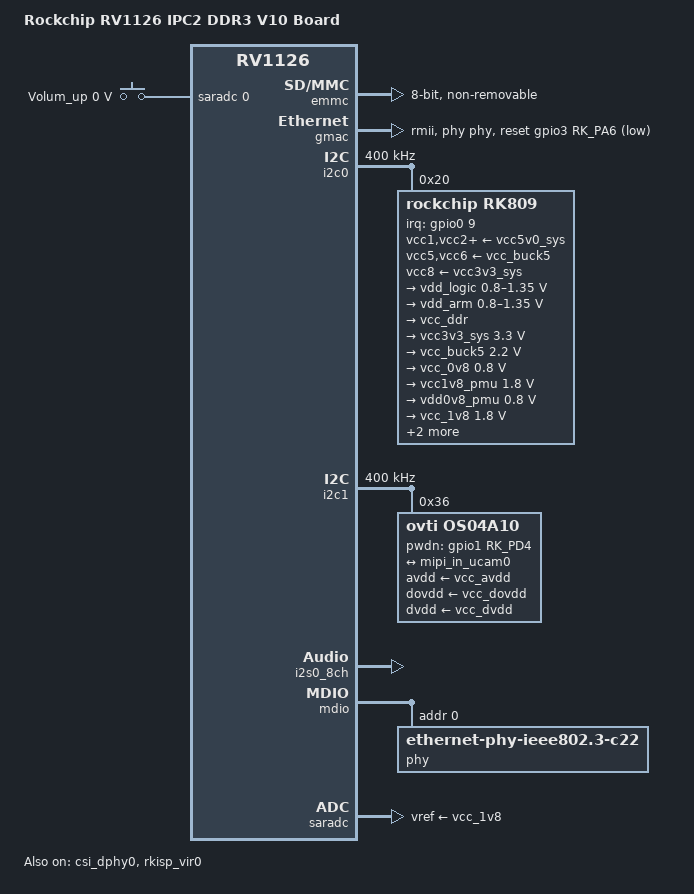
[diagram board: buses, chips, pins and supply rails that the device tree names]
// SPDX-License-Identifier: (GPL-2.0+ OR MIT)
/*
 * Copyright (c) 2020 Fuzhou Rockchip Electronics Co., Ltd.
 */

/dts-v1/;
#include "rv1126.dtsi"
#include "rv1126-ipc.dtsi"
#include <dt-bindings/input/input.h>

/ {
	model = "Rockchip RV1126 IPC2 DDR3 V10 Board";
	compatible = "rockchip,rv1126-ipc2-ddr3-v10", "rockchip,rv1126";

	adc-keys {
		compatible = "adc-keys";
		io-channels = <&saradc 0>;
		io-channel-names = "buttons";
		poll-interval = <100>;
		keyup-threshold-microvolt = <1800000>;

		recovery {
			label = "Volum_up";
			linux,code = <KEY_VOLUMEUP>;
			press-threshold-microvolt = <0>;
		};
	};

	rk809_sound: rk809-sound {
		compatible = "simple-audio-card";
		simple-audio-card,format = "i2s";
		simple-audio-card,name = "rockchip,rk809-codec";
		simple-audio-card,mclk-fs = <256>;
		simple-audio-card,widgets =
			"Microphone", "Mic Jack",
			"Headphone", "Headphone Jack";
		simple-audio-card,routing =
			"Mic Jack", "MICBIAS1",
			"IN1P", "Mic Jack",
			"Headphone Jack", "HPOL",
			"Headphone Jack", "HPOR";
		simple-audio-card,cpu {
			sound-dai = <&i2s0_8ch>;
		};
		simple-audio-card,codec {
			sound-dai = <&rk809_codec>;
		};
	};
};

&csi_dphy0 {
	status = "okay";

	ports {
		#address-cells = <1>;
		#size-cells = <0>;
		port@0 {
			reg = <0>;
			#address-cells = <1>;
			#size-cells = <0>;

			mipi_in_ucam0: endpoint@1 {
				reg = <1>;
				remote-endpoint = <&ucam_out0>;
				data-lanes = <1 2 3 4>;
			};
		};

		port@1 {
			reg = <1>;
			#address-cells = <1>;
			#size-cells = <0>;

			csidphy0_out: endpoint@0 {
				reg = <0>;
				remote-endpoint = <&isp_in>;
			};
		};
	};
};

&emmc {
	bus-width = <8>;
	cap-mmc-highspeed;
	non-removable;
	mmc-hs200-1_8v;
	rockchip,default-sample-phase = <90>;
	supports-emmc;
	/delete-property/ pinctrl-names;
	/delete-property/ pinctrl-0;
	status = "okay";
};

&gmac {
	phy-mode = "rmii";
	clock_in_out = "output";

	snps,reset-gpio = <&gpio3 RK_PA6 GPIO_ACTIVE_LOW>;
	snps,reset-active-low;
	snps,reset-delays-us = <0 50000 50000>;

	assigned-clocks = <&cru CLK_GMAC_SRC>, <&cru CLK_GMAC_TX_RX>;
	assigned-clock-parents = <&cru CLK_GMAC_SRC_M0>, <&cru RMII_MODE_CLK>;
	assigned-clock-rates = <50000000>;

	pinctrl-names = "default";
	pinctrl-0 = <&rmiim0_miim &rgmiim0_rxer &rmiim0_bus2 &rgmiim0_mclkinout_level0>;

	phy-handle = <&phy>;
	status = "okay";
};

&i2c0 {
	status = "okay";
	clock-frequency = <400000>;

	rk809: pmic@20 {
		compatible = "rockchip,rk809";
		reg = <0x20>;
		interrupt-parent = <&gpio0>;
		interrupts = <9 IRQ_TYPE_LEVEL_LOW>;
		pinctrl-names = "default", "pmic-sleep",
			"pmic-power-off", "pmic-reset";
		pinctrl-0 = <&pmic_int>;
		pinctrl-1 = <&soc_slppin_slp>, <&rk817_slppin_slp>;
		pinctrl-2 = <&soc_slppin_gpio>, <&rk817_slppin_pwrdn>;
		pinctrl-3 = <&soc_slppin_rst>, <&rk817_slppin_rst>;
		rockchip,system-power-controller;
		wakeup-source;
		#clock-cells = <1>;
		clock-output-names = "rk808-clkout1", "rk808-clkout2";
		/* 0: rst the pmic, 1: rst regs (default in codes) */
		pmic-reset-func = <0>;

		vcc1-supply = <&vcc5v0_sys>;
		vcc2-supply = <&vcc5v0_sys>;
		vcc3-supply = <&vcc5v0_sys>;
		vcc4-supply = <&vcc5v0_sys>;
		vcc5-supply = <&vcc_buck5>;
		vcc6-supply = <&vcc_buck5>;
		vcc7-supply = <&vcc5v0_sys>;
		vcc8-supply = <&vcc3v3_sys>;
		vcc9-supply = <&vcc5v0_sys>;

		pwrkey {
			status = "okay";
		};

		pinctrl_rk8xx: pinctrl_rk8xx {
			gpio-controller;
			#gpio-cells = <2>;

			/omit-if-no-ref/
			rk817_slppin_null: rk817_slppin_null {
				pins = "gpio_slp";
				function = "pin_fun0";
			};

			/omit-if-no-ref/
			rk817_slppin_slp: rk817_slppin_slp {
				pins = "gpio_slp";
				function = "pin_fun1";
			};

			/omit-if-no-ref/
			rk817_slppin_pwrdn: rk817_slppin_pwrdn {
				pins = "gpio_slp";
				function = "pin_fun2";
			};

			/omit-if-no-ref/
			rk817_slppin_rst: rk817_slppin_rst {
				pins = "gpio_slp";
				function = "pin_fun3";
			};
		};

		regulators {
			vdd_logic: DCDC_REG1 {
				regulator-always-on;
				regulator-boot-on;
				regulator-min-microvolt = <800000>;
				regulator-max-microvolt = <1350000>;
				regulator-ramp-delay = <6001>;
				regulator-initial-mode = <0x2>;
				regulator-name = "vdd_logic";
				regulator-state-mem {
					regulator-on-in-suspend;
					regulator-suspend-microvolt = <800000>;
				};
			};

			vdd_arm: DCDC_REG2 {
				regulator-always-on;
				regulator-boot-on;
				regulator-min-microvolt = <800000>;
				regulator-max-microvolt = <1350000>;
				regulator-ramp-delay = <6001>;
				regulator-initial-mode = <0x2>;
				regulator-name = "vdd_arm";
				regulator-state-mem {
					regulator-off-in-suspend;
				};
			};

			vcc_ddr: DCDC_REG3 {
				regulator-always-on;
				regulator-boot-on;
				regulator-initial-mode = <0x2>;
				regulator-name = "vcc_ddr";
				regulator-state-mem {
					regulator-on-in-suspend;
				};
			};

			vcc3v3_sys: DCDC_REG4 {
				regulator-always-on;
				regulator-boot-on;
				regulator-min-microvolt = <3300000>;
				regulator-max-microvolt = <3300000>;
				regulator-initial-mode = <0x2>;
				regulator-name = "vcc3v3_sys";
				regulator-state-mem {
					regulator-on-in-suspend;
					regulator-suspend-microvolt = <3300000>;
				};
			};

			vcc_buck5: DCDC_REG5 {
				regulator-always-on;
				regulator-boot-on;
				regulator-min-microvolt = <2200000>;
				regulator-max-microvolt = <2200000>;
				regulator-name = "vcc_buck5";
				regulator-state-mem {
					regulator-on-in-suspend;
					regulator-suspend-microvolt = <2200000>;
				};
			};

			vcc_0v8: LDO_REG1 {
				regulator-always-on;
				regulator-boot-on;
				regulator-min-microvolt = <800000>;
				regulator-max-microvolt = <800000>;
				regulator-name = "vcc_0v8";
				regulator-state-mem {
					regulator-off-in-suspend;
				};
			};

			vcc1v8_pmu: LDO_REG2 {
				regulator-always-on;
				regulator-boot-on;
				regulator-min-microvolt = <1800000>;
				regulator-max-microvolt = <1800000>;
				regulator-name = "vcc1v8_pmu";
				regulator-state-mem {
					regulator-on-in-suspend;
					regulator-suspend-microvolt = <1800000>;
				};
			};

			vdd0v8_pmu: LDO_REG3 {
				regulator-always-on;
				regulator-boot-on;
				regulator-min-microvolt = <800000>;
				regulator-max-microvolt = <800000>;
				regulator-name = "vcc0v8_pmu";
				regulator-state-mem {
					regulator-on-in-suspend;
					regulator-suspend-microvolt = <800000>;
				};
			};

			vcc_1v8: LDO_REG4 {
				regulator-always-on;
				regulator-boot-on;
				regulator-min-microvolt = <1800000>;
				regulator-max-microvolt = <1800000>;
				regulator-name = "vcc_1v8";
				regulator-state-mem {
					regulator-on-in-suspend;
					regulator-suspend-microvolt = <1800000>;
				};
			};

			vcc_dovdd: LDO_REG5 {
				regulator-boot-on;
				regulator-min-microvolt = <1800000>;
				regulator-max-microvolt = <1800000>;
				regulator-name = "vcc_dovdd";
				regulator-state-mem {
					regulator-off-in-suspend;
				};
			};

			vcc_dvdd: LDO_REG6 {
				regulator-min-microvolt = <1200000>;
				regulator-max-microvolt = <1200000>;
				regulator-name = "vcc_dvdd";
				regulator-state-mem {
					regulator-off-in-suspend;
				};
			};

			vcc_avdd: LDO_REG7 {
				regulator-min-microvolt = <2800000>;
				regulator-max-microvolt = <2800000>;
				regulator-name = "vcc_avdd";
				regulator-state-mem {
					regulator-off-in-suspend;
				};
			};

			vcc_ldo8: LDO_REG8 {
				regulator-always-off;
				regulator-boot-off;
				regulator-name = "vcc_ldo8";
				regulator-state-mem {
					regulator-off-in-suspend;
				};
			};

			vcc_ldo9: LDO_REG9 {
				regulator-always-off;
				regulator-boot-off;
				regulator-name = "vcc_ldo9";
				regulator-state-mem {
					regulator-off-in-suspend;
				};
			};

			vcc5v0_host: SWITCH_REG1 {
				regulator-name = "vcc5v0_host";
			};

			vcc_3v3: SWITCH_REG2 {
				regulator-always-on;
				regulator-boot-on;
				regulator-name = "vcc_3v3";
			};
		};

		rk809_codec: codec {
			#sound-dai-cells = <0>;
			compatible = "rockchip,rk809-codec", "rockchip,rk817-codec";
			clocks = <&cru MCLK_I2S0_TX_OUT2IO>;
			clock-names = "mclk";
			pinctrl-names = "default";
			assigned-clocks = <&cru MCLK_I2S0_TX_OUT2IO>;
			assigned-clock-parents = <&cru MCLK_I2S0_TX>;
			pinctrl-0 = <&i2s0m0_mclk>;
			hp-volume = <20>;
			spk-volume = <3>;
		};
	};
};

&i2c1 {
	status = "okay";
	clock-frequency = <400000>;

	os04a10: os04a10@36 {
		compatible = "ovti,os04a10";
		reg = <0x36>;
		clocks = <&cru CLK_MIPICSI_OUT>;
		clock-names = "xvclk";
		power-domains = <&power RV1126_PD_VI>;
		pinctrl-names = "rockchip,camera_default";
		pinctrl-0 = <&mipicsi_clk0>;
		avdd-supply = <&vcc_avdd>;
		dovdd-supply = <&vcc_dovdd>;
		dvdd-supply = <&vcc_dvdd>;
		pwdn-gpios = <&gpio1 RK_PD4 GPIO_ACTIVE_HIGH>;
		rockchip,camera-module-index = <1>;
		rockchip,camera-module-facing = "front";
		rockchip,camera-module-name = "CMK-OT1607-FV1";
		rockchip,camera-module-lens-name = "M12-4IR-4MP-F16";
		port {
			ucam_out0: endpoint {
				remote-endpoint = <&mipi_in_ucam0>;
				data-lanes = <1 2 3 4>;
			};
		};

	};
};

&i2s0_8ch {
	status = "okay";
	#sound-dai-cells = <0>;
	rockchip,clk-trcm = <1>;
	rockchip,i2s-rx-route = <3 1 2 0>;
	pinctrl-names = "default";
	pinctrl-0 = <&i2s0m0_sclk_tx
		     &i2s0m0_lrck_tx
		     &i2s0m0_sdo0
		     &i2s0m0_sdo1_sdi3>;
};

&mdio {
	phy: phy@0 {
		compatible = "ethernet-phy-ieee802.3-c22";
		reg = <0x0>;
	};
};

&pmu_io_domains {
	status = "okay";

	pmuio0-supply = <&vcc1v8_pmu>;
	pmuio1-supply = <&vcc3v3_sys>;
	vccio4-supply = <&vcc_1v8>;
	vccio5-supply = <&vcc_3v3>;
	vccio6-supply = <&vcc_3v3>;
	vccio7-supply = <&vcc_1v8>;
};

&rkisp_vir0 {
	status = "okay";

	ports {
		port@0 {
			reg = <0>;
			#address-cells = <1>;
			#size-cells = <0>;

			isp_in: endpoint@0 {
				reg = <0>;
				remote-endpoint = <&csidphy0_out>;
			};
		};
	};
};

&saradc {
	status = "okay";
	vref-supply = <&vcc_1v8>;
};
